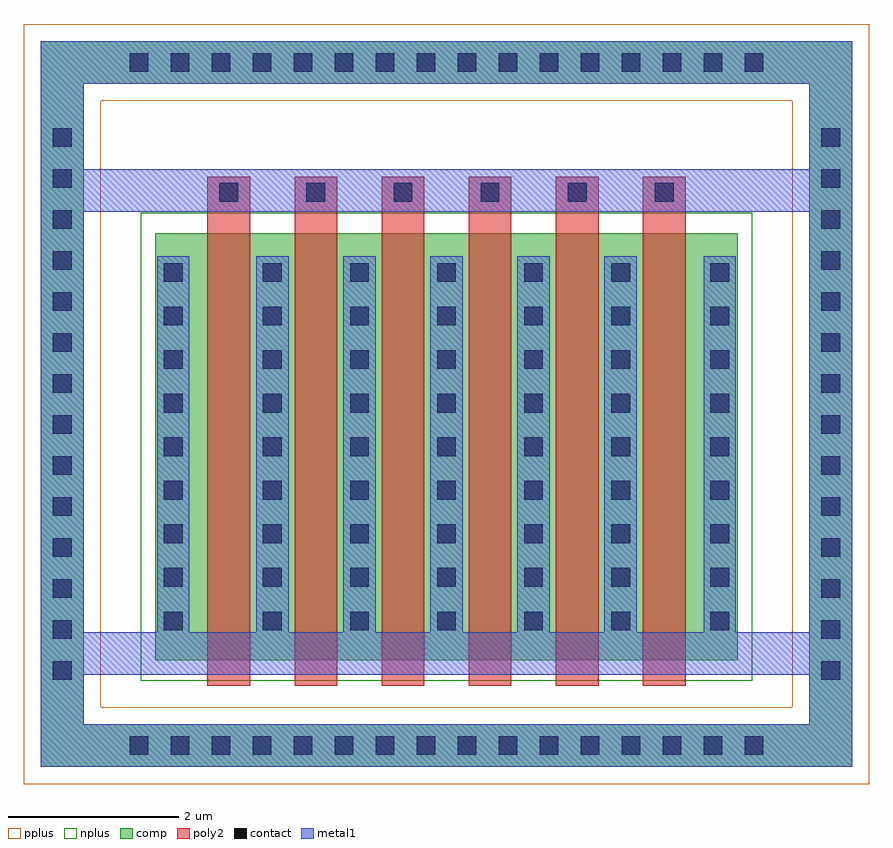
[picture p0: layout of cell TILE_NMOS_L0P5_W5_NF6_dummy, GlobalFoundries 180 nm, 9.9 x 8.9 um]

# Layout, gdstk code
import gdstk
lib = gdstk.Library(unit=1e-6, precision=1e-09)
def R(c, l, rs):  # rectangles x0, y0, x1, y1
    for r in rs: c.add(gdstk.rectangle(r[:2], r[2:], *l))
def A(c, l, x, y, w, h, nx, ny, dx, dy):  # array of equal rectangles
    R(c, l, [(x+i*dx, y+j*dy, x+i*dx+w, y+j*dy+h) for i in range(nx) for j in range(ny)])
comp = (22, 0)
poly2 = (30, 0)
pplus = (31, 0)
nplus = (32, 0)
contact = (33, 0)
metal1 = (34, 0)

via_dev_1 = lib.new_cell('via_dev$1')

via_dev_2 = lib.new_cell('via_dev$2')
R(via_dev_2, comp, [(0,0,0.5,7)])
A(via_dev_2, contact, 0.14, 0.27, 0.22, 0.22, 1, 14, 0, 0.48)
R(via_dev_2, metal1, [(0,0,0.5,7)])

via_dev_3 = lib.new_cell('via_dev$3')
R(via_dev_3, comp, [(0,0,8,0.5)])
A(via_dev_3, contact, 0.29, 0.14, 0.22, 0.22, 16, 1, 0.48, 0)
R(via_dev_3, metal1, [(0,0,8,0.5)])

nfet_1 = lib.new_cell('nfet$1')
R(nfet_1, comp, [(-0.42,0,0,5), (0,0,5.98,5), (5.98,0,6.4,5)])
A(nfet_1, poly2, 0.19, -0.3, 0.5, 5.6, 6, 1, 1.02, 0)
A(nfet_1, poly2, 0.19, 5.3, 0.5, 0.36, 6, 1, 1.02, 0)
R(nfet_1, nplus, [(-0.59,-0.24,6.57,5.24)])
A(nfet_1, contact, -0.32, 0.35, 0.22, 0.22, 1, 9, 0, 0.51)
A(nfet_1, contact, 0.84, 0.35, 0.22, 0.22, 5, 9, 1.02, 0.51)
A(nfet_1, contact, 6.08, 0.35, 0.22, 0.22, 1, 9, 0, 0.51)
A(nfet_1, contact, 0.33, 5.37, 0.22, 0.22, 6, 1, 1.02, 0)
A(nfet_1, metal1, 0.76, 0.27, 0.38, 4.46, 5, 1, 1.02, 0)
A(nfet_1, metal1, 0.25, 5.289, 0.38, 0.382, 6, 1, 1.02, 0)
R(nfet_1, metal1, [(-0.4,0.27,-0.02,4.73), (6,0.27,6.38,4.73)])

tile_nmos_l0p5_w5_nf6_du = lib.new_cell('TILE_NMOS_L0P5_W5_NF6_dummy')
tile_nmos_l0p5_w5_nf6_du.add(gdstk.FlexPath([(-4.5,1.08),(4.5,1.08)], 0.5, ends="flush", simple_path=True, layer=34, datatype=0))  # metal1
tile_nmos_l0p5_w5_nf6_du.add(gdstk.FlexPath([(-4.5,6.5),(4.5,6.5)], 0.5, ends="flush", simple_path=True, layer=34, datatype=0))  # metal1
tile_nmos_l0p5_w5_nf6_du.add(gdstk.FlexPath([(-4.5,8.25),(-4.5,-0.25)], 0.5, ends="flush", simple_path=True, layer=34, datatype=0))  # metal1
tile_nmos_l0p5_w5_nf6_du.add(gdstk.FlexPath([(4.5,8.25),(4.5,-0.25)], 0.5, ends="flush", simple_path=True, layer=34, datatype=0))  # metal1
tile_nmos_l0p5_w5_nf6_du.add(gdstk.FlexPath([(-4.75,8),(4.75,8)], 0.5, ends="flush", simple_path=True, layer=34, datatype=0))  # metal1
tile_nmos_l0p5_w5_nf6_du.add(gdstk.FlexPath([(-4.75,0),(4.75,0)], 0.5, ends="flush", simple_path=True, layer=34, datatype=0))  # metal1
tile_nmos_l0p5_w5_nf6_du.add(gdstk.FlexPath([(-3,6.5),(3,6.5)], 0.5, ends="flush", simple_path=True, layer=34, datatype=0))  # metal1
tile_nmos_l0p5_w5_nf6_du.add(gdstk.FlexPath([(4.5,8.25),(4.5,-0.25)], 0.5, ends="flush", simple_path=True, layer=22, datatype=0))  # comp
tile_nmos_l0p5_w5_nf6_du.add(gdstk.FlexPath([(-4.5,8.25),(-4.5,-0.25)], 0.5, ends="flush", simple_path=True, layer=22, datatype=0))  # comp
tile_nmos_l0p5_w5_nf6_du.add(gdstk.FlexPath([(-4.75,8),(4.75,8)], 0.5, ends="flush", simple_path=True, layer=22, datatype=0))  # comp
tile_nmos_l0p5_w5_nf6_du.add(gdstk.FlexPath([(-4.75,0),(4.75,0)], 0.5, ends="flush", simple_path=True, layer=22, datatype=0))  # comp
tile_nmos_l0p5_w5_nf6_du.add(gdstk.FlexPath([(-4.95,8),(4.95,8)], 0.9, ends="flush", simple_path=True, layer=31, datatype=0))  # pplus
tile_nmos_l0p5_w5_nf6_du.add(gdstk.FlexPath([(-4.95,0),(4.95,0)], 0.9, ends="flush", simple_path=True, layer=31, datatype=0))  # pplus
tile_nmos_l0p5_w5_nf6_du.add(gdstk.FlexPath([(-4.95,8),(4.95,8)], 0.9, ends="flush", simple_path=True, layer=31, datatype=0))  # pplus
tile_nmos_l0p5_w5_nf6_du.add(gdstk.FlexPath([(4.5,0),(4.5,8)], 0.9, ends="flush", simple_path=True, layer=31, datatype=0))  # pplus
tile_nmos_l0p5_w5_nf6_du.add(gdstk.FlexPath([(-4.5,0),(-4.5,8)], 0.9, ends="flush", simple_path=True, layer=31, datatype=0))  # pplus
tile_nmos_l0p5_w5_nf6_du.add(gdstk.Reference(via_dev_1, (-0.62,-0.915)))
tile_nmos_l0p5_w5_nf6_du.add(gdstk.Reference(via_dev_2, (-4.75,0.5)))
tile_nmos_l0p5_w5_nf6_du.add(gdstk.Reference(via_dev_2, (4.25,0.5)))
tile_nmos_l0p5_w5_nf6_du.add(gdstk.Reference(via_dev_3, (-4,-0.25)))
tile_nmos_l0p5_w5_nf6_du.add(gdstk.Reference(nfet_1, (-2.99,1)))
tile_nmos_l0p5_w5_nf6_du.add(gdstk.Reference(via_dev_3, (-4,7.75)))

lib.write_gds('TILE_NMOS_L0P5_W5_NF6_dummy.gds')
